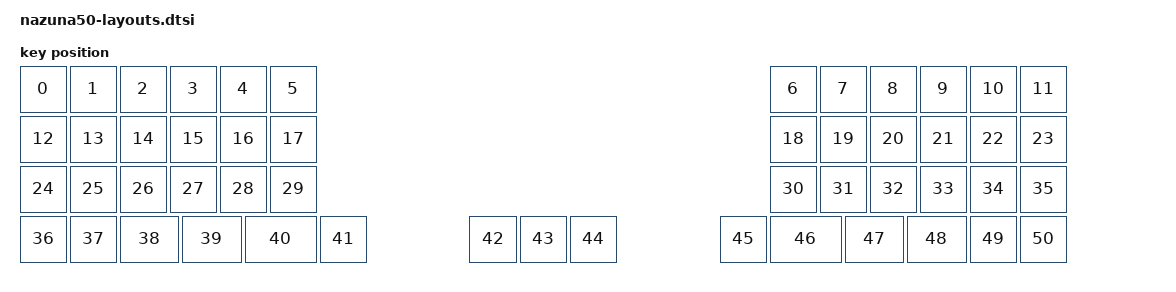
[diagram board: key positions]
// See https://zmk.dev/docs/development/hardware-integration/physical-layouts
// for how to configure this.

#include <physical_layouts.dtsi>

/ {
    default_layout: default_layout {
        compatible = "zmk,physical-layout";
        display-name = "Default Layout";
        transform = <&default_transform>;
        kscan = <&kscan>;

        keys  //                     w   h    x    y     rot    rx    ry
            = <&key_physical_attrs 100 100    0    0       0     0     0>
            , <&key_physical_attrs 100 100  100    0       0     0     0>
            , <&key_physical_attrs 100 100  200    0       0     0     0>
            , <&key_physical_attrs 100 100  300    0       0     0     0>
            , <&key_physical_attrs 100 100  400    0       0     0     0>
            , <&key_physical_attrs 100 100  500    0       0     0     0>
            , <&key_physical_attrs 100 100 1500    0       0     0     0>
            , <&key_physical_attrs 100 100 1600    0       0     0     0>
            , <&key_physical_attrs 100 100 1700    0       0     0     0>
            , <&key_physical_attrs 100 100 1800    0       0     0     0>
            , <&key_physical_attrs 100 100 1900    0       0     0     0>
            , <&key_physical_attrs 100 100 2000    0       0     0     0>
            , <&key_physical_attrs 100 100    0  100       0     0     0>
            , <&key_physical_attrs 100 100  100  100       0     0     0>
            , <&key_physical_attrs 100 100  200  100       0     0     0>
            , <&key_physical_attrs 100 100  300  100       0     0     0>
            , <&key_physical_attrs 100 100  400  100       0     0     0>
            , <&key_physical_attrs 100 100  500  100       0     0     0>
            , <&key_physical_attrs 100 100 1500  100       0     0     0>
            , <&key_physical_attrs 100 100 1600  100       0     0     0>
            , <&key_physical_attrs 100 100 1700  100       0     0     0>
            , <&key_physical_attrs 100 100 1800  100       0     0     0>
            , <&key_physical_attrs 100 100 1900  100       0     0     0>
            , <&key_physical_attrs 100 100 2000  100       0     0     0>
            , <&key_physical_attrs 100 100    0  200       0     0     0>
            , <&key_physical_attrs 100 100  100  200       0     0     0>
            , <&key_physical_attrs 100 100  200  200       0     0     0>
            , <&key_physical_attrs 100 100  300  200       0     0     0>
            , <&key_physical_attrs 100 100  400  200       0     0     0>
            , <&key_physical_attrs 100 100  500  200       0     0     0>
            , <&key_physical_attrs 100 100 1500  200       0     0     0>
            , <&key_physical_attrs 100 100 1600  200       0     0     0>
            , <&key_physical_attrs 100 100 1700  200       0     0     0>
            , <&key_physical_attrs 100 100 1800  200       0     0     0>
            , <&key_physical_attrs 100 100 1900  200       0     0     0>
            , <&key_physical_attrs 100 100 2000  200       0     0     0>
            , <&key_physical_attrs 100 100    0  300       0     0     0>
            , <&key_physical_attrs 100 100  100  300       0     0     0>
            , <&key_physical_attrs 125 100  200  300       0     0     0>
            , <&key_physical_attrs 125 100  325  300       0     0     0>
            , <&key_physical_attrs 150 100  450  300       0     0     0>
            , <&key_physical_attrs 100 100  600  300       0     0     0>
            , <&key_physical_attrs 100 100  900  300       0     0     0>
            , <&key_physical_attrs 100 100 1000  300       0     0     0>
            , <&key_physical_attrs 100 100 1100  300       0     0     0>
            , <&key_physical_attrs 100 100 1400  300       0     0     0>
            , <&key_physical_attrs 150 100 1500  300       0     0     0>
            , <&key_physical_attrs 125 100 1650  300       0     0     0>
            , <&key_physical_attrs 125 100 1775  300       0     0     0>
            , <&key_physical_attrs 100 100 1900  300       0     0     0>
            , <&key_physical_attrs 100 100 2000  300       0     0     0>
            ;
    };
};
